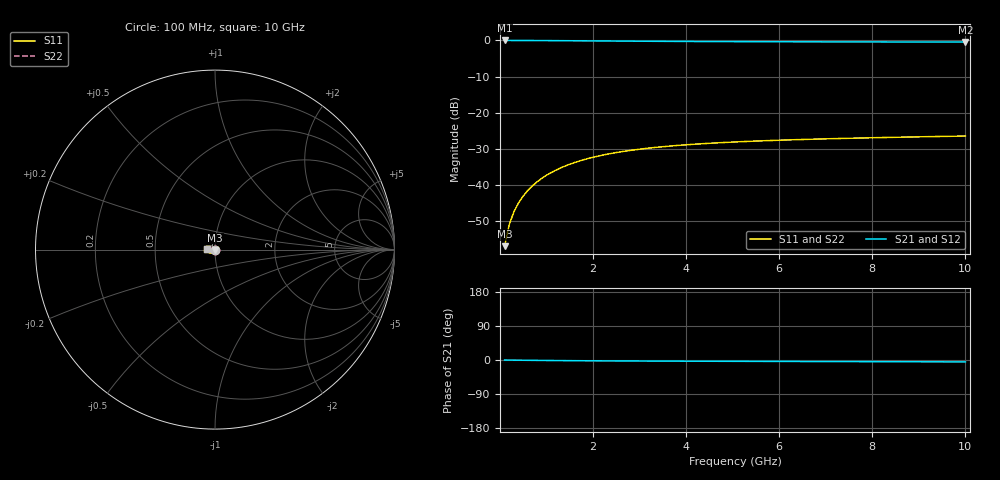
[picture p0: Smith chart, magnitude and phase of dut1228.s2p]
! Touchstone file exported from HFSS 2024.1.0
!  File:  C:/UserFiles/LocalFiles/RDL_TSV_Batchsim/temp_TSV1_1228_1780250106.aedt
!  Generated:  02:02:46 AM Jun  1, 2026
!  Design:  TSV1
!  Project:  temp_TSV1_1228_1780250106
!  Setup:  Setup1
!  Solution:  Sweep
! Variables:
!  dtsv = 12.82um
!  hbump = 3um
!  htsv = 75.24um
!  lrdl = 252.1521522um
!  p = 40
!  p1 = 59.71um
!  t = 500um
!  trdl = 3um
!  wrdl = 24.89489489um
# GHz S MA R 50.000000
! Terminal data exported
! Port[1] = TSV22_T1
! Port[2] = TSV22_T2
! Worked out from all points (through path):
!   100 points, 100 MHz to 10 GHz, reference 50 ohm
!   highest |S21| = 0.00 dB at 100 MHz (marker M1); lowest = -0.4 dB at 10 GHz (marker M2)
!   lowest |S11| = -57.0 dB at 100 MHz (marker M3), VSWR 1.00, Z = 50 - j0.141 ohm
!   |S11| at or under -10 dB: start of sweep to end of sweep
!   |S22| runs from -57.0 to -26.5 dB; largest |S21 - S12| = 6.1e-15
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0.1  0.00141 -88.6  0.9999 -0.1  0.9999 -0.1  0.00141 -88.6
! Gamma 0 0 0 0
! Port Impedance 50 0 50 0
0.2  0.002815 -92.2  0.9997 -0.3  0.9997 -0.3  0.002815 -92.2
0.3  0.004218 -94.7  0.9994 -0.4  0.9994 -0.4  0.004218 -94.7
0.4  0.005613 -97.0  0.9991 -0.5  0.9991 -0.5  0.005613 -97.0
0.5  0.006994 -99.1  0.9986 -0.7  0.9986 -0.7  0.006994 -99.1
0.6  0.008355 -101.2  0.9981 -0.8  0.9981 -0.8  0.008355 -101.2
0.7  0.009694 -103.3  0.9975 -0.9  0.9975 -0.9  0.009694 -103.3
0.8  0.01101 -105.3  0.9968 -1.0  0.9968 -1.0  0.01101 -105.3
0.9  0.01229 -107.3  0.9961 -1.1  0.9961 -1.1  0.01229 -107.3
1.1  0.01475 -111.1  0.9944 -1.4  0.9944 -1.4  0.01475 -111.1
1.4  0.01819 -116.6  0.9916 -1.7  0.9916 -1.7  0.01819 -116.6
1.6  0.02029 -120.0  0.9897 -1.8  0.9897 -1.8  0.02029 -120.0
1.8  0.02224 -123.2  0.9877 -2.0  0.9877 -2.0  0.02224 -123.2
2.1  0.02489 -127.8  0.9846 -2.2  0.9846 -2.2  0.02489 -127.8
2.5  0.02795 -133.4  0.9807 -2.5  0.9807 -2.5  0.02795 -133.4
2.9  0.03054 -138.4  0.9771 -2.7  0.9771 -2.7  0.03054 -138.4
3.4  0.03322 -144.0  0.9731 -2.9  0.9731 -2.9  0.03322 -144.0
4.2  0.03655 -151.6  0.9677 -3.2  0.9677 -3.2  0.03655 -151.6
5.1  0.03932 -158.7  0.9631 -3.5  0.9631 -3.5  0.03932 -158.7
6.7  0.04278 -168.9  0.9574 -4.0  0.9574 -4.0  0.04278 -168.9
8.4  0.04538 -177.4  0.9535 -4.5  0.9535 -4.5  0.04538 -177.4
10  0.04736 175.8  0.9511 -5.0  0.9511 -5.0  0.04736 175.8
